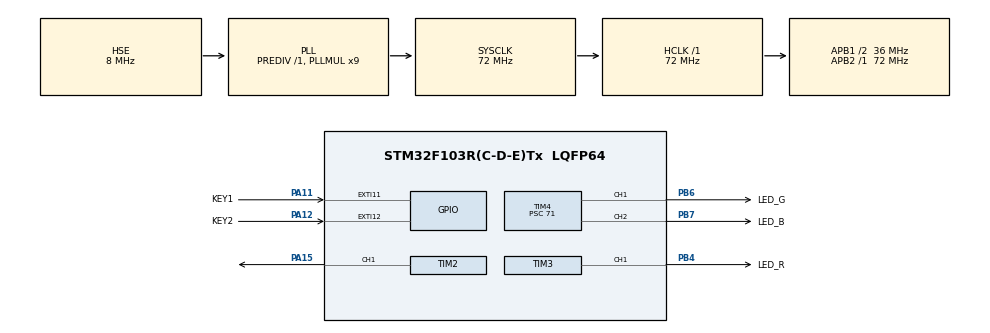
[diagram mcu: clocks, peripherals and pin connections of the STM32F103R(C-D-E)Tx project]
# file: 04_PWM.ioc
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Mcu.Family=STM32F1
Mcu.Name=STM32F103R(C-D-E)Tx
Mcu.Package=LQFP64
NVIC.EXTI15_10_IRQn=true\:0\:0\:false\:false\:true\:true\:true\:true
NVIC.PriorityGroup=NVIC_PRIORITYGROUP_4
NVIC.TIM1_UP_IRQn=true\:0\:0\:false\:false\:true\:true\:true\:true
PA11.GPIO_Label=KEY1
PA11.GPIO_ModeDefaultEXTI=GPIO_MODE_IT_RISING_FALLING
PA11.GPIO_PuPd=GPIO_PULLUP
PA11.Signal=GPXTI11
PA12.GPIO_Label=KEY2
PA12.GPIO_ModeDefaultEXTI=GPIO_MODE_IT_RISING_FALLING
PA12.GPIO_PuPd=GPIO_PULLUP
PA12.Signal=GPXTI12
PA13.Mode=Serial_Wire
PA13.Signal=SYS_JTMS-SWDIO
PA14.Mode=Serial_Wire
PA14.Signal=SYS_JTCK-SWCLK
PA15.GPIO_Speed=GPIO_SPEED_FREQ_HIGH
PA15.Signal=S_TIM2_CH1_ETR
PB4.GPIO_Label=LED_R
PB4.GPIO_Speed=GPIO_SPEED_FREQ_HIGH
PB4.Signal=S_TIM3_CH1
PB6.GPIO_Label=LED_G
PB6.GPIO_Speed=GPIO_SPEED_FREQ_HIGH
PB6.Signal=S_TIM4_CH1
PB7.GPIO_Label=LED_B
PB7.GPIO_Speed=GPIO_SPEED_FREQ_HIGH
PB7.Signal=S_TIM4_CH2
PD0-OSC_IN.Mode=HSE-External-Oscillator
PD0-OSC_IN.Signal=RCC_OSC_IN
PD1-OSC_OUT.Mode=HSE-External-Oscillator
PD1-OSC_OUT.Signal=RCC_OSC_OUT
ProjectManager.HeapSize=0x200
ProjectManager.StackSize=0x400
ProjectManager.TargetToolchain=MDK-ARM V5.32
RCC.AHBFreq_Value=72000000
RCC.APB1CLKDivider=RCC_HCLK_DIV2
RCC.APB1Freq_Value=36000000
RCC.APB1TimFreq_Value=72000000
RCC.APB2Freq_Value=72000000
RCC.APB2TimFreq_Value=72000000
RCC.HCLKFreq_Value=72000000
RCC.PLLMUL=RCC_PLL_MUL9
RCC.PLLSourceVirtual=RCC_PLLSOURCE_HSE
RCC.SYSCLKFreq_VALUE=72000000
RCC.SYSCLKSource=RCC_SYSCLKSOURCE_PLLCLK
RCC.USBFreq_Value=72000000
SH.S_TIM2_CH1_ETR.0=TIM2_CH1,PWM Generation1 CH1
SH.S_TIM3_CH1.0=TIM3_CH1,PWM Generation1 CH1
SH.S_TIM4_CH1.0=TIM4_CH1,PWM Generation1 CH1
SH.S_TIM4_CH2.0=TIM4_CH2,PWM Generation2 CH2
TIM1.AutoReloadPreload=TIM_AUTORELOAD_PRELOAD_ENABLE
TIM1.Period=9999
TIM1.Prescaler=71
TIM2.Channel-PWM\ Generation1\ CH1=TIM_CHANNEL_1
TIM2.OCPolarity_1=TIM_OCPOLARITY_LOW
TIM2.Period=99
TIM2.Prescaler=71
TIM3.AutoReloadPreload=TIM_AUTORELOAD_PRELOAD_ENABLE
TIM3.Channel-PWM\ Generation1\ CH1=TIM_CHANNEL_1
TIM3.OCPolarity_1=TIM_OCPOLARITY_LOW
TIM3.Period=4999
TIM3.Prescaler=71
TIM4.AutoReloadPreload=TIM_AUTORELOAD_PRELOAD_ENABLE
TIM4.Channel-PWM\ Generation1\ CH1=TIM_CHANNEL_1
TIM4.Channel-PWM\ Generation2\ CH2=TIM_CHANNEL_2
TIM4.OCPolarity_1=TIM_OCPOLARITY_LOW
TIM4.OCPolarity_2=TIM_OCPOLARITY_LOW
TIM4.Period=4999
TIM4.Prescaler=71
VP_TIM1_VS_ClockSourceINT.Mode=Internal
VP_TIM2_VS_ClockSourceINT.Mode=Internal
VP_TIM3_VS_ClockSourceINT.Mode=Internal
VP_TIM4_VS_ClockSourceINT.Mode=Internal
board=custom

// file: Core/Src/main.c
/* USER CODE BEGIN Header */
/**
  ******************************************************************************
  * @file           : main.c
  * @brief          : Main program body
  ******************************************************************************
  * @attention
  *
  * Copyright (c) 2025 STMicroelectronics.
  * All rights reserved.
  *
  * This software is licensed under terms that can be found in the LICENSE file
  * in the root directory of this software component.
  * If no LICENSE file comes with this software, it is provided AS-IS.
  *
  ******************************************************************************
  */
/* USER CODE END Header */
#include "main.h"
#include "tim.h"
#include "gpio.h"

/* USER CODE BEGIN PD */

// 定义音符频率
#define NOTE_C4  262
#define NOTE_D4  294
#define NOTE_E4  330
#define NOTE_F4  349
#define NOTE_G4  392
#define NOTE_A4  440
#define NOTE_B4  494

// 《小星星》乐谱
int melody[] = {
  NOTE_C4, NOTE_C4, NOTE_G4, NOTE_G4,
  NOTE_A4, NOTE_A4, NOTE_G4, 0,
  NOTE_F4, NOTE_F4, NOTE_E4, NOTE_E4,
  NOTE_D4, NOTE_D4, NOTE_C4
};

/* USER CODE END PD */

void SystemClock_Config(void);

/* USER CODE BEGIN 0 */
void set_buzzer_frequency(uint16_t freq)
{
  uint16_t count = 1000000 / freq;
  __HAL_TIM_SET_AUTORELOAD(&htim2,count);
  __HAL_TIM_SetCompare(&htim2,TIM_CHANNEL_1,count>>1);
}
/* USER CODE END 0 */

int main(void)
{

  /* MCU Configuration--------------------------------------------------------*/

  /* Reset of all peripherals, Initializes the Flash interface and the Systick. */
  HAL_Init();

  /* Configure the system clock */
  SystemClock_Config();

  /* Initialize all configured peripherals */
  MX_GPIO_Init();
  MX_TIM1_Init();
  MX_TIM3_Init();
  MX_TIM4_Init();
  MX_TIM2_Init();
  /* USER CODE BEGIN 2 */
  HAL_TIM_PWM_Start(&htim2,TIM_CHANNEL_1);
  HAL_TIM_PWM_Start(&htim3,TIM_CHANNEL_1);
  HAL_TIM_PWM_Start(&htim4,TIM_CHANNEL_1);
  HAL_TIM_PWM_Start(&htim4,TIM_CHANNEL_2);
  __HAL_TIM_SetCompare(&htim2,TIM_CHANNEL_1,49);
  // __HAL_TIM_SetCompare(&htim3,TIM_CHANNEL_1,4999);
  // __HAL_TIM_SetCompare(&htim4,TIM_CHANNEL_1,4999);
  // __HAL_TIM_SetCompare(&htim4,TIM_CHANNEL_2,4999);
  /* USER CODE END 2 */

  /* Infinite loop */
  /* USER CODE BEGIN WHILE */
  while (1)
  {
    for(uint16_t i = 0;i < (sizeof(melody) / sizeof(melody[0]));i++)
    {
      if(melody[i] != 0)
      {
        HAL_TIM_PWM_Start(&htim2,TIM_CHANNEL_1);
        set_buzzer_frequency(melody[i]);
      }
      HAL_Delay(450);
      HAL_TIM_PWM_Stop(&htim2,TIM_CHANNEL_1);
      HAL_Delay(50);
    }
    HAL_Delay(1500);
//     for(uint16_t i = 0;i < 4999;i+=100)
//     {
// //      __HAL_TIM_SetCompare(&htim3,TIM_CHANNEL_1,i);
// 			__HAL_TIM_SetCompare(&htim4,TIM_CHANNEL_1,i);
// //			__HAL_TIM_SetCompare(&htim4,TIM_CHANNEL_2,i);
//       HAL_Delay(10);
//     }
//     for(uint16_t i = 4999;i > 100;i-=100)
//     {
// //      __HAL_TIM_SetCompare(&htim3,TIM_CHANNEL_1,i);
// 			__HAL_TIM_SetCompare(&htim4,TIM_CHANNEL_1,i);
// //			__HAL_TIM_SetCompare(&htim4,TIM_CHANNEL_2,i);
//       HAL_Delay(10);
//     }
    /* USER CODE END WHILE */

  }
}

void SystemClock_Config(void)
{
  RCC_OscInitTypeDef RCC_OscInitStruct = {0};
  RCC_ClkInitTypeDef RCC_ClkInitStruct = {0};

  /** Initializes the RCC Oscillators according to the specified parameters
  * in the RCC_OscInitTypeDef structure.
  */
  RCC_OscInitStruct.OscillatorType = RCC_OSCILLATORTYPE_HSE;
  RCC_OscInitStruct.HSEState = RCC_HSE_ON;
  RCC_OscInitStruct.HSEPredivValue = RCC_HSE_PREDIV_DIV1;
  RCC_OscInitStruct.HSIState = RCC_HSI_ON;
  RCC_OscInitStruct.PLL.PLLState = RCC_PLL_ON;
  RCC_OscInitStruct.PLL.PLLSource = RCC_PLLSOURCE_HSE;
  RCC_OscInitStruct.PLL.PLLMUL = RCC_PLL_MUL9;
  if (HAL_RCC_OscConfig(&RCC_OscInitStruct) != HAL_OK)
  {
    Error_Handler();
  }

  /** Initializes the CPU, AHB and APB buses clocks
  */
  RCC_ClkInitStruct.ClockType = RCC_CLOCKTYPE_HCLK|RCC_CLOCKTYPE_SYSCLK
                              |RCC_CLOCKTYPE_PCLK1|RCC_CLOCKTYPE_PCLK2;
  RCC_ClkInitStruct.SYSCLKSource = RCC_SYSCLKSOURCE_PLLCLK;
  RCC_ClkInitStruct.AHBCLKDivider = RCC_SYSCLK_DIV1;
  RCC_ClkInitStruct.APB1CLKDivider = RCC_HCLK_DIV2;
  RCC_ClkInitStruct.APB2CLKDivider = RCC_HCLK_DIV1;

  if (HAL_RCC_ClockConfig(&RCC_ClkInitStruct, FLASH_LATENCY_2) != HAL_OK)
  {
    Error_Handler();
  }
}

void Error_Handler(void)
{
  __disable_irq();
  while (1)
  {
  }
}
